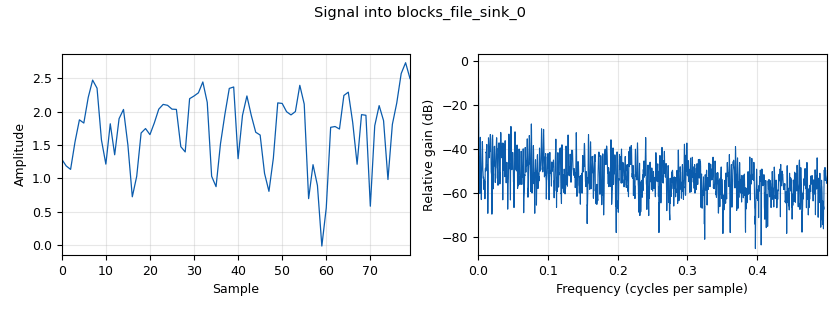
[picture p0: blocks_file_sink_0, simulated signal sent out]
options:
  parameters:
    author: crypie86
    generate_options: no_gui
    id: spectrumsimulation
    output_language: python
    run_options: run
    title: spectrumsimulation
  states: {}

blocks:
- name: samp_rate
  id: variable
  parameters:
    value: '32000'
  states: {}
- name: analog_noise_source_x_0
  id: analog_noise_source_x
  parameters:
    amp: '1'
    noise_type: analog.GR_GAUSSIAN
    seed: '0'
    type: float
  states: {}
- name: analog_sig_source_x_0
  id: analog_sig_source_x
  parameters:
    amp: '1'
    freq: '1000'
    offset: '0'
    phase: '0'
    samp_rate: samp_rate
    type: float
    waveform: analog.GR_COS_WAVE
  states: {}
- name: analog_sig_source_x_0_0
  id: analog_sig_source_x
  parameters:
    amp: '1'
    freq: '5000'
    offset: '0'
    phase: '0'
    samp_rate: samp_rate
    type: float
    waveform: analog.GR_COS_WAVE
  states: {}
- name: blocks_complex_to_mag_squared_0
  id: blocks_complex_to_mag_squared
  parameters:
    vlen: '1024'
  states: {}
- name: blocks_file_sink_0
  id: blocks_file_sink
  parameters:
    file: /home/crypie86/Desktop/noise1kcos5kcos.txt
    type: float
    vlen: '1024'
  states: {}
- name: blocks_head_0
  id: blocks_head
  parameters:
    num_items: '4'
    type: float
    vlen: '1024'
  states: {}
- name: blocks_nlog10_ff_0
  id: blocks_nlog10_ff
  parameters:
    k: '0'
    n: '1'
    vlen: '1024'
  states: {}
- name: blocks_stream_mux_0
  id: blocks_stream_mux
  parameters:
    lengths: (1, 1,1)
    num_inputs: '3'
    type: float
  states: {}
- name: blocks_stream_to_vector_0
  id: blocks_stream_to_vector
  parameters:
    num_items: '1024'
    type: float
  states: {}
- name: blocks_throttle_0
  id: blocks_throttle
  parameters:
    samples_per_second: samp_rate
    type: float
  states: {}
- name: fft_vxx_0
  id: fft_vxx
  parameters:
    fft_size: '1024'
    forward: 'True'
    nthreads: '2'
    shift: 'True'
    type: float
    window: window.blackmanharris(1024)
  states: {}
- name: virtual_sink_0
  id: virtual_sink
  parameters:
    stream_id: whee
  states: {}
- name: virtual_sink_1
  id: virtual_sink
  parameters:
    stream_id: totalinput
  states: {}
- name: virtual_source_0
  id: virtual_source
  parameters:
    stream_id: whee
  states: {}
- name: virtual_source_1
  id: virtual_source
  parameters:
    stream_id: totalinput
  states: {}

connections:
- [analog_noise_source_x_0, '0', blocks_stream_mux_0, '1']
- [analog_sig_source_x_0, '0', blocks_stream_mux_0, '2']
- [analog_sig_source_x_0_0, '0', blocks_stream_mux_0, '0']
- [blocks_complex_to_mag_squared_0, '0', blocks_nlog10_ff_0, '0']
- [blocks_head_0, '0', blocks_file_sink_0, '0']
- [blocks_nlog10_ff_0, '0', blocks_head_0, '0']
- [blocks_stream_mux_0, '0', virtual_sink_1, '0']
- [blocks_stream_to_vector_0, '0', fft_vxx_0, '0']
- [blocks_throttle_0, '0', blocks_stream_to_vector_0, '0']
- [fft_vxx_0, '0', virtual_sink_0, '0']
- [virtual_source_0, '0', blocks_complex_to_mag_squared_0, '0']
- [virtual_source_1, '0', blocks_throttle_0, '0']

metadata:
  file_format: 1
  grc_version: v3.11.0.0git-38-g72311c07
